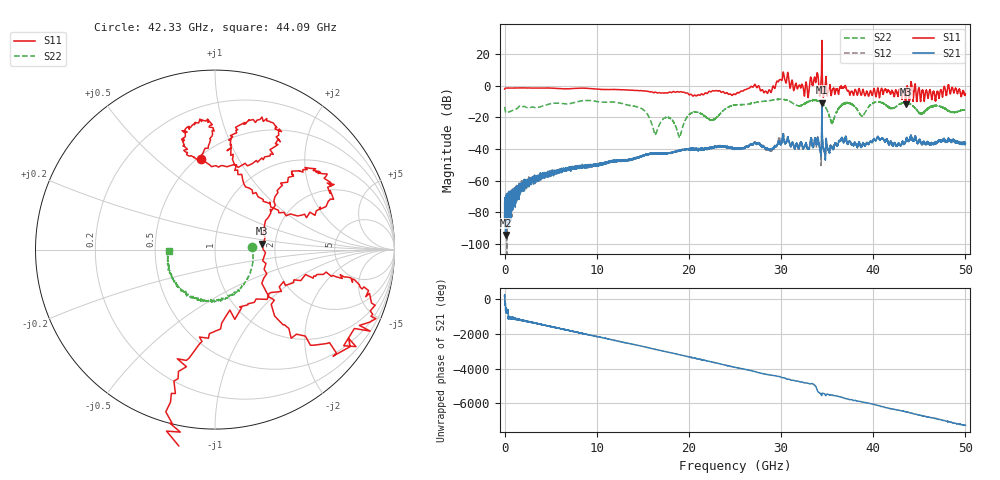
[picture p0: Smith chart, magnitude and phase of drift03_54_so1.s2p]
!Created with skrf (http://scikit-rf.org).
# Hz S RI R 50.0
!freq ReS11 ImS11 ReS21 ImS21 ReS12 ImS12 ReS22 ImS22
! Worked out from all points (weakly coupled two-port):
!   10000 points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, 5.3 MHz to 50 GHz, reference 50 ohm
!   highest |S21| = -10.58 dB at 34.43 GHz (marker M1); lowest = -94.2 dB at 110.3 MHz (marker M2)
!   lowest |S11| = -11.6 dB at 43.52 GHz (marker M3), VSWR 1.71, Z = 84.8 + j6.11 ohm
!   |S11| at or under -10 dB: 43.48746 GHz to 43.54464 GHz (57.19 MHz wide, 0.131 % of centre); 43.54821 GHz to 43.55097 GHz (2.764 MHz wide, 0.00635 % of centre)
!   |S22| runs from -32.5 to -8.4 dB; largest |S21 - S12| = 0.089
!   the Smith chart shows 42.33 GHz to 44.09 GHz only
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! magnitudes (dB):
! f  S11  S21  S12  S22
! 5.3 MHz  -2.1  -74.1  -79.8  -13.3
! 110.3 MHz  -1.5  -94.2  -73.9  -16.5
! 2.855 GHz  -1.4  -60.3  -59.1  -13.6
! 8.34 GHz  -1.5  -51.0  -50.8  -9.5
! 14.56 GHz  -3.1  -45.1  -45.3  -13.6
! 16.67 GHz  -4.4  -43.0  -42.8  -26.2
! 17.8 GHz  -4.2  -42.4  -42.6  -20.0
! 18.99 GHz  -3.9  -41.1  -41.1  -32.4
! 20.29 GHz  -5.5  -40.4  -39.9  -17.1
! 22.57 GHz  -3.2  -39.0  -39.1  -21.7
! 25.01 GHz  -5.5  -39.6  -39.8  -12.1
! 28.72 GHz  -2.5  -40.8  -40.7  -9.4
! 30.14 GHz  4.4  -33.6  -34.0  -8.5
! 32.74 GHz  2.0  -37.1  -36.7  -10.6
! 33.34 GHz  2.6  -34.9  -35.2  -9.4
! 34.43 GHz  28.7  -10.6  -12.8  -10.9
! 35.53 GHz  -3.4  -38.9  -38.9  -23.2
! 36.95 GHz  0.1  -33.3  -33.4  -11.1
! 38.78 GHz  -4.9  -38.0  -38.1  -19.1
! 41.67 GHz  -2.9  -36.6  -36.7  -13.3
! 43.52 GHz  -11.6  -35.2  -35.2  -10.9
! 50 GHz  -5.3  -36.5  -36.2  -15.6
